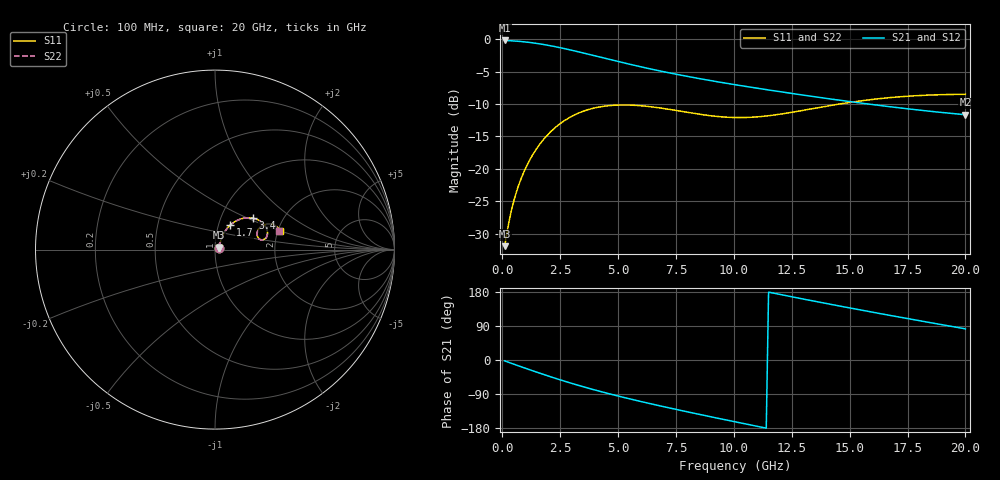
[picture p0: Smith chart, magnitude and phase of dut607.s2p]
! Touchstone file exported from HFSS 2024.1.0
!  File:  C:/UserFiles/LocalFiles/RDL_TSV_Batchsim/temp_RDL_TSV_607_1779798357.aedt
!  Generated:  08:44:01 PM May 26, 2026
!  Design:  RDL_TSV
!  Project:  temp_RDL_TSV_607_1779798357
!  Setup:  Setup1
!  Solution:  Sweep
! Variables:
!  dtsv = 6.9um
!  hbump = 3um
!  htsv = 59.19um
!  ldown = 629.62um
!  lrdl = 648.8um
!  p = 40
!  p1 = 50.38um
!  rhole = 10um
!  subl = 4484.06um
!  t = 450um
!  tdown = 4.2um
!  trdl = 3.44um
!  viad = 10um
!  wdown = 16.02um
!  wrdl = 22.39um
!  xbump = 18um
# GHz S MA R 50.000000
! Terminal data exported
! Port[1] = TM1_1_T1
! Port[2] = TM1_4_T1
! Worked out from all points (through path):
!   200 points, 100 MHz to 20 GHz, reference 50 ohm
!   highest |S21| = -0.20 dB at 100 MHz (marker M1); lowest = -11.7 dB at 20 GHz (marker M2)
!   group delay of S21, straight-line fit = 36.8 ps
!   lowest |S11| = -32.0 dB at 100 MHz (marker M3), VSWR 1.05, Z = 52.3 + j1.1 ohm
!   |S11| at or under -10 dB: start of sweep to 14.58 GHz
!   |S22| runs from -32.0 to -8.6 dB; largest |S21 - S12| = 8.6e-15
!   S11 on the Smith chart (normalised r, x): 100 MHz: 1.05, +0.02; 1.7 GHz: 1.14, +0.32; 3.4 GHz: 1.41, +0.54; 20 GHz: 2.05, +0.49
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0.1  0.02525 24.6  0.977 -2.3  0.977 -2.3  0.02525 24.6
! Gamma 0 0 0 0
! Port Impedance 50 0 50 0
0.3  0.0399 48.1  0.9734 -6.7  0.9734 -6.7  0.03991 48.1
0.4  0.04821 53.2  0.9711 -8.9  0.9711 -8.9  0.04822 53.1
0.7  0.07395 59.9  0.9627 -15.4  0.9627 -15.4  0.07395 59.9
1.1  0.1093 61.5  0.947 -24.0  0.947 -24.0  0.1093 61.4
1.7  0.1614 58.1  0.9145 -36.5  0.9145 -36.5  0.1614 58.0
2.5  0.223 50.0  0.8591 -52.4  0.8591 -52.4  0.2228 49.9
2.9  0.2483 45.4  0.8286 -59.9  0.8286 -59.9  0.2481 45.3
3.4  0.2737 39.8  0.7897 -68.9  0.7897 -68.9  0.2734 39.7
3.5  0.2779 38.7  0.7819 -70.7  0.7819 -70.7  0.2777 38.6
4.2  0.2998 31.3  0.7287 -82.5  0.7287 -82.5  0.2995 31.2
5.1  0.3103 23.3  0.6658 -96.6  0.6658 -96.6  0.3099 23.1
5.9  0.3071 17.7  0.6165 -108.3  0.6165 -108.3  0.3067 17.6
6.8  0.2946 13.6  0.5687 -120.9  0.5687 -120.9  0.2942 13.4
8.4  0.2653 11.8  0.5001 -142.1  0.5001 -142.1  0.2648 11.6
10.1  0.2483 17.0  0.4437 -163.7  0.4437 -163.7  0.2477 16.8
11.6  0.2577 23.2  0.4028 177.8  0.4028 177.8  0.2569 22.9
13.4  0.291 26.9  0.3612 156.1  0.3612 156.1  0.2899 26.7
15  0.3247 26.3  0.3298 137.4  0.3298 137.4  0.3234 26.1
16.7  0.3533 23.3  0.3015 118.2  0.3015 118.2  0.3517 23.0
18.3  0.3693 19.6  0.2797 100.6  0.2797 100.6  0.3676 19.4
20  0.375 15.9  0.2611 82.2  0.2611 82.2  0.3731 15.7
